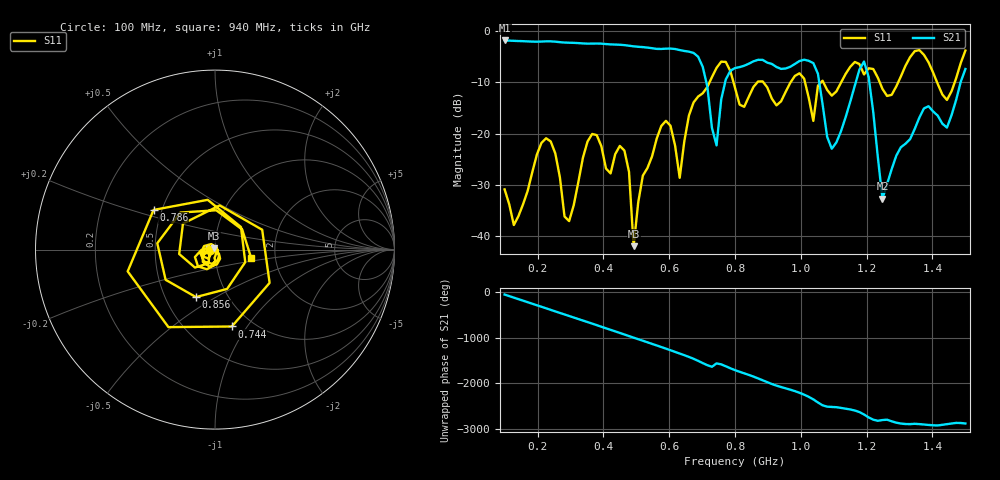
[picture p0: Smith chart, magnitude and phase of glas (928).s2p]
! NanoVNA-App
! Date: 2025-09-25 16:02:41
! Start: 100MHz Stop: 1,5GHz Points: 101
! S-Parameter data: F S11 S21 S12 S22
# Hz S RI R 50
!  Frequency  S11_Real  S11_Imag  S21_Real  S21_Imag  S12_Real  S12_Imag  S22_Real  S22_Imag
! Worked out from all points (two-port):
!   101 points, 100 MHz to 1.5 GHz, reference 50 ohm
!   highest |S21| = -1.80 dB at 100 MHz (marker M1); lowest = -32.7 dB at 1.248 GHz (marker M2)
!   |S21| within 3 dB of the highest: start of sweep to 684.6 MHz
!   lowest |S11| = -42.0 dB at 492 MHz (marker M3), VSWR 1.02, Z = 49.5 + j0.625 ohm
!   |S11| at or under -10 dB: start of sweep to 722.5 MHz; 795.5 MHz to 867.8 MHz (72.27 MHz wide, 8.69 % of centre); 886.4 MHz to 968.8 MHz (82.41 MHz wide, 8.88 % of centre) (the widest 3 of 7)
!   S12 and S22 are empty: the file has one direction only
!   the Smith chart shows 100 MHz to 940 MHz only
!   S11 on the Smith chart (normalised r, x): 100 MHz: 0.94, -0.01; 744 MHz: 0.80, -0.85; 786 MHz: 0.45, +0.24; 856 MHz: 0.71, -0.41; 940 MHz: 1.50, -0.14
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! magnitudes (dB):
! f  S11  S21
! 100 MHz  -30.9  -1.8
! 128 MHz  -37.9  -1.9
! 226 MHz  -20.9  -2.0
! 296 MHz  -37.1  -2.2
! 338 MHz  -24.7  -2.4
! 464 MHz  -23.3  -2.7
! 492 MHz  -42.0  -3.0
! 576 MHz  -18.5  -3.5
! 632 MHz  -28.7  -3.7
! 702 MHz  -12.1  -7.0
! 744 MHz  -7.2  -22.3
! 786 MHz  -7.8  -7.7
! 800 MHz  -11.0  -7.2
! 856 MHz  -10.9  -5.9
! 940 MHz  -13.7  -7.4
! 996 MHz  -8.2  -5.8
! 1.038 GHz  -17.5  -6.2
! 1.094 GHz  -12.6  -23.0
! 1.192 GHz  -8.4  -5.9
! 1.248 GHz  -11.3  -32.7
! 1.276 GHz  -12.4  -27.0
! 1.5 GHz  -3.8  -7.4
